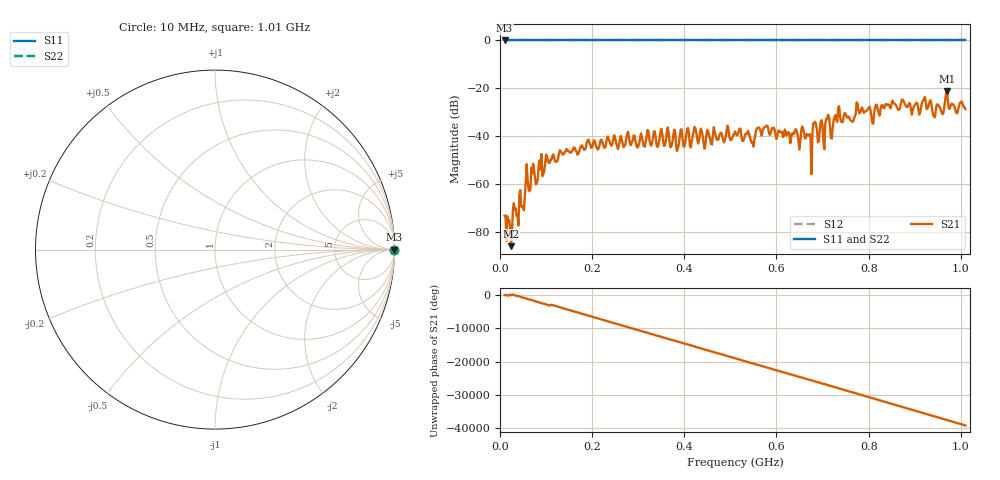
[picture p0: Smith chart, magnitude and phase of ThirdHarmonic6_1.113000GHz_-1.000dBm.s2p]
! 8/16/2025 10:37:15 AM
! C:\ANRITSUVNA\TEMP\TEMP.S2P
! CHANNEL.1
! TR.MEASUREMENT
! RAW.DATA
! RF.CORRECTION.OFF
! AVERAGING.OFF
! IF.BANDWIDTH: 5KHZ
! SWEEPTYPE:  FREQ.SWEEP(Linear)
! Reference Plane Port Info
! PORT:  PORT1  PORT2
! DISTANCE:  0  m  0  m
! TIME:  0  s  0  s
! PHASE.OFFSET:  0  deg.  0  deg.
! LOSS:  0  dB  0  dB
! REF.LOSS:  0  dB  0  dB
! REF.FREQ:  0  Hz  0  Hz
! Power Info
! POWER:  -20  dBm  -20  dBm
! EFF.POWER:  -20  dBm  -20  dBm
! SOURCE.ATTEN:  0  dB  0  dB
! TEST.ATTEN:  0  dB  0  dB
# GHZ S RI R 50.0
! FREQ.GHZ  S11RE  S11IM  S21RE  S21IM  S12RE  S12IM  S22RE  S22IM
!; PortSelection: Port_12
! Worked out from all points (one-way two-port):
!   501 points, 10 MHz to 1.01 GHz, reference 50 ohm
!   highest |S21| = -21.22 dB at 970 MHz (marker M1); lowest = -86.1 dB at 24 MHz (marker M2)
!   lowest |S11| = 0.0 dB at 10 MHz (marker M3)
!   |S11| at or under -10 dB: nowhere
!   |S22| runs from 0.0 to 0.0 dB; largest |S21 - S12| = 1.1
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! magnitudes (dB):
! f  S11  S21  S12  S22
! 10 MHz  0.0  -73.4  0.0  0.0
! 24 MHz  0.0  -86.1  0.0  0.0
! 50 MHz  0.0  -70.1  0.0  0.0
! 58 MHz  0.0  -51.7  0.0  0.0
! 72 MHz  0.0  -51.6  0.0  0.0
! 78 MHz  0.0  -60.2  0.0  0.0
! 102 MHz  0.0  -48.5  0.0  0.0
! 178 MHz  0.0  -43.9  0.0  0.0
! 344 MHz  0.0  -43.5  0.0  0.0
! 510 MHz  0.0  -38.1  0.0  0.0
! 578 MHz  0.0  -35.7  0.0  0.0
! 678 MHz  0.0  -38.8  0.0  0.0
! 682 MHz  0.0  -34.6  0.0  0.0
! 704 MHz  0.0  -45.5  0.0  0.0
! 710 MHz  0.0  -32.7  0.0  0.0
! 720 MHz  0.0  -41.1  0.0  0.0
! 732 MHz  0.0  -34.1  0.0  0.0
! 844 MHz  0.0  -26.9  0.0  0.0
! 920 MHz  0.0  -24.5  0.0  0.0
! 942 MHz  0.0  -31.9  0.0  0.0
! 970 MHz  0.0  -21.2  0.0  0.0
! 1.01 GHz  0.0  -28.6  0.0  0.0
